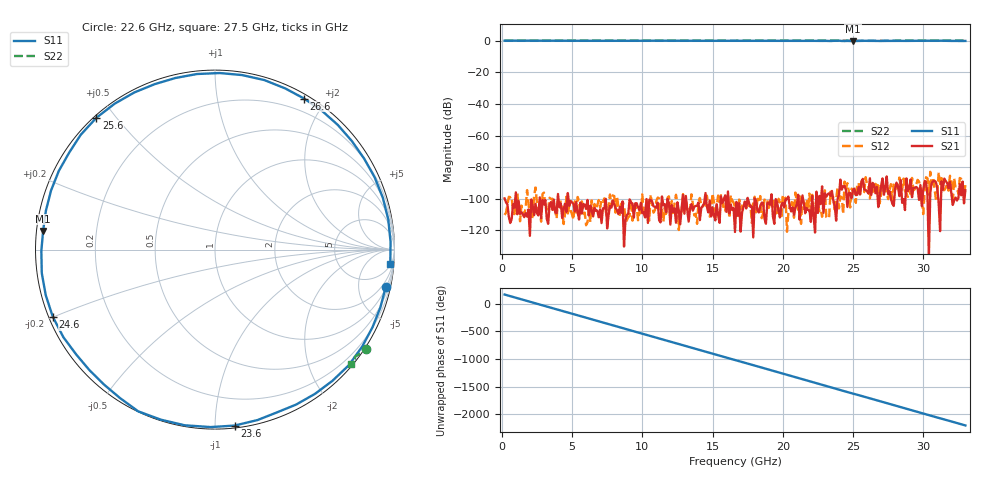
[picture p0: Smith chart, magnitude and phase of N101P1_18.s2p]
# GHZ S RI R 50
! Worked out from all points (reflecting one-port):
!   329 points, 200 MHz to 33 GHz, reference 50 ohm
!   lowest |S11| = -0.3 dB at 25 GHz (marker M1), VSWR 53.72, Z = 0.934 + j2.7 ohm
!   phase of S11 starts at 165 deg and turns -2368 deg over the sweep
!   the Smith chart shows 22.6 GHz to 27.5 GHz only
!   S11 on the Smith chart (normalised r, x): 22.6 GHz: 1.11, -9.05; 23.6 GHz: 0.02, -1.12; 24.6 GHz: 0.01, -0.20; 25.6 GHz: 0.01, +0.45; 26.6 GHz: 0.05, +1.75; 27.5 GHz: 6, -23
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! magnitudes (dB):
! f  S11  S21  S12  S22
! 200 MHz  0.0  -99.7  -110.2  0.0
! 5.7 GHz  -0.1  -109.2  -101.6  0.0
! 9 GHz  -0.1  -109.4  -111.6  0.0
! 11.2 GHz  0.0  -113.6  -99.7  0.0
! 16.6 GHz  -0.2  -120.9  -105.0  -0.1
! 22.1 GHz  -0.1  -98.1  -97.5  0.1
! 22.6 GHz  -0.2  -98.2  -107.8  0.0
! 23 GHz  -0.1  -96.6  -94.6  0.0
! 23.4 GHz  -0.3  -98.1  -95.4  -0.1
! 23.6 GHz  -0.1  -101.1  -99.1  0.0
! 24 GHz  0.0  -97.4  -106.1  0.0
! 24.3 GHz  -0.3  -92.1  -109.6  -0.1
! 24.6 GHz  -0.2  -105.1  -90.1  -0.1
! 25 GHz  -0.3  -94.5  -95.5  -0.1
! 25.6 GHz  -0.1  -88.9  -89.8  -0.2
! 26.6 GHz  -0.2  -96.4  -90.5  -0.1
! 27.5 GHz  -0.2  -96.9  -100.2  -0.1
! 27.6 GHz  -0.2  -95.1  -94.9  -0.1
! 31.3 GHz  0.0  -88.9  -86.9  0.1
! 31.7 GHz  -0.1  -90.1  -90.2  0.0
! 32 GHz  -0.2  -96.5  -88.3  0.1
! 33 GHz  -0.2  -94.6  -91.3  -0.1
